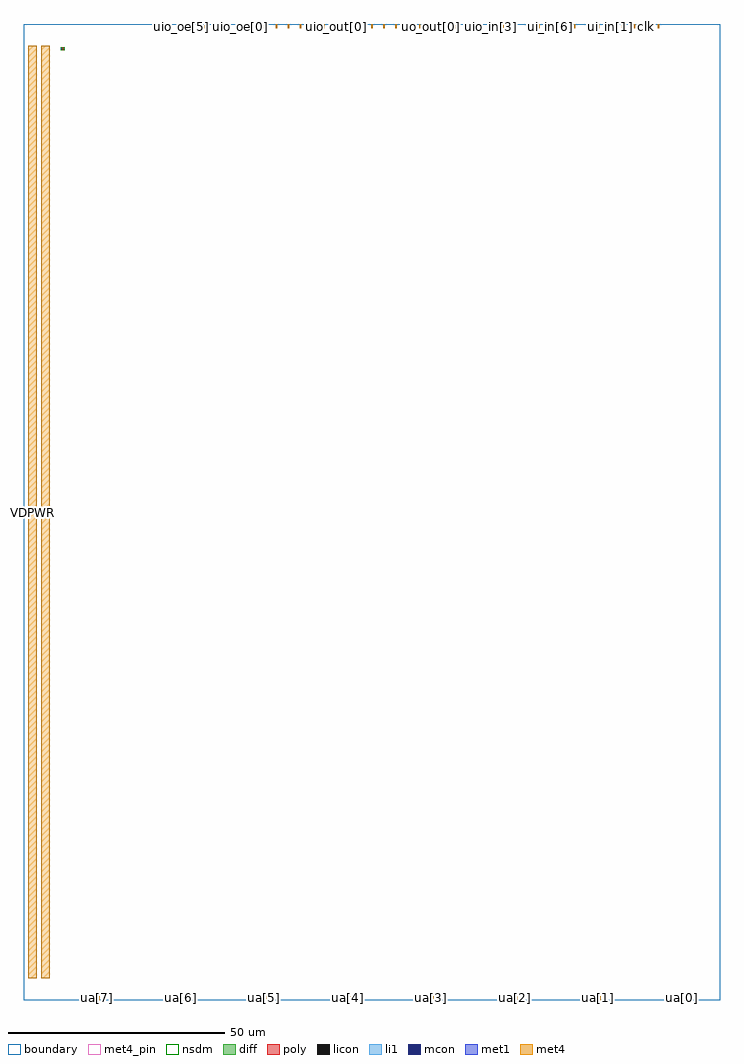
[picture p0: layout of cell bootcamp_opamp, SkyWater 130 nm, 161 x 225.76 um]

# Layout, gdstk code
import gdstk
lib = gdstk.Library(unit=1e-6, precision=1e-09)
def R(c, l, rs):  # rectangles x0, y0, x1, y1
    for r in rs: c.add(gdstk.rectangle(r[:2], r[2:], *l))
def A(c, l, x, y, w, h, nx, ny, dx, dy):  # array of equal rectangles
    R(c, l, [(x+i*dx, y+j*dy, x+i*dx+w, y+j*dy+h) for i in range(nx) for j in range(ny)])
diff = (65, 20)
poly = (66, 20)
licon = (66, 44)
li1 = (67, 20)
mcon = (67, 44)
met1 = (68, 20)
met4_pin = (71, 16)
met4 = (71, 20)
nsdm = (93, 44)
boundary = (235, 4)

bootcamp_opamp = lib.new_cell('bootcamp_opamp')
R(bootcamp_opamp, diff, [(8.625,219.75,9.375,220.25), (8.625,219.75,9.375,220.25), (8.625,219.75,9.375,220.25)])
R(bootcamp_opamp, poly, [(8.963,219.65,9.037,220.35)])
R(bootcamp_opamp, licon, [(8.508,219.958,8.592,220.043)])
R(bootcamp_opamp, li1, [(8.5,219.95,8.6,220.05)])
R(bootcamp_opamp, mcon, [(8.513,219.963,8.588,220.038)])
R(bootcamp_opamp, met1, [(8.45,219.9,8.65,220.1)])
A(bootcamp_opamp, met4_pin, 16.57, 0, 0.9, 1, 8, 1, 19.32, 0)
A(bootcamp_opamp, met4_pin, 30.67, 224.76, 0.3, 1, 43, 1, 2.76, 0)
R(bootcamp_opamp, met4_pin, [(1,5,3,220.76), (4,5,6,220.76)])
A(bootcamp_opamp, met4, 16.57, 0, 0.9, 1, 8, 1, 19.32, 0)
A(bootcamp_opamp, met4, 30.67, 224.76, 0.3, 1, 43, 1, 2.76, 0)
R(bootcamp_opamp, met4, [(1,5,3,220.76), (4,5,6,220.76)])
R(bootcamp_opamp, nsdm, [(8.55,219.675,9.45,220.325)])
R(bootcamp_opamp, boundary, [(0,0,161,225.76)])
bootcamp_opamp.add(gdstk.Label('clk', (143.98,225.26), layer=71, texttype=16))
bootcamp_opamp.add(gdstk.Label('ena', (146.74,225.26), layer=71, texttype=16))
bootcamp_opamp.add(gdstk.Label('rst_n', (141.22,225.26), layer=71, texttype=16))
bootcamp_opamp.add(gdstk.Label('ua[0]', (152.26,0.5), layer=71, texttype=16))
bootcamp_opamp.add(gdstk.Label('ua[1]', (132.94,0.5), layer=71, texttype=16))
bootcamp_opamp.add(gdstk.Label('ua[2]', (113.62,0.5), layer=71, texttype=16))
bootcamp_opamp.add(gdstk.Label('ua[3]', (94.3,0.5), layer=71, texttype=16))
bootcamp_opamp.add(gdstk.Label('ua[4]', (74.98,0.5), layer=71, texttype=16))
bootcamp_opamp.add(gdstk.Label('ua[5]', (55.66,0.5), layer=71, texttype=16))
bootcamp_opamp.add(gdstk.Label('ua[6]', (36.34,0.5), layer=71, texttype=16))
bootcamp_opamp.add(gdstk.Label('ua[7]', (17.02,0.5), layer=71, texttype=16))
bootcamp_opamp.add(gdstk.Label('ui_in[0]', (138.46,225.26), layer=71, texttype=16))
bootcamp_opamp.add(gdstk.Label('ui_in[1]', (135.7,225.26), layer=71, texttype=16))
bootcamp_opamp.add(gdstk.Label('ui_in[2]', (132.94,225.26), layer=71, texttype=16))
bootcamp_opamp.add(gdstk.Label('ui_in[3]', (130.18,225.26), layer=71, texttype=16))
bootcamp_opamp.add(gdstk.Label('ui_in[4]', (127.42,225.26), layer=71, texttype=16))
bootcamp_opamp.add(gdstk.Label('ui_in[5]', (124.66,225.26), layer=71, texttype=16))
bootcamp_opamp.add(gdstk.Label('ui_in[6]', (121.9,225.26), layer=71, texttype=16))
bootcamp_opamp.add(gdstk.Label('ui_in[7]', (119.14,225.26), layer=71, texttype=16))
bootcamp_opamp.add(gdstk.Label('uio_in[0]', (116.38,225.26), layer=71, texttype=16))
bootcamp_opamp.add(gdstk.Label('uio_in[1]', (113.62,225.26), layer=71, texttype=16))
bootcamp_opamp.add(gdstk.Label('uio_in[2]', (110.86,225.26), layer=71, texttype=16))
bootcamp_opamp.add(gdstk.Label('uio_in[3]', (108.1,225.26), layer=71, texttype=16))
bootcamp_opamp.add(gdstk.Label('uio_in[4]', (105.34,225.26), layer=71, texttype=16))
bootcamp_opamp.add(gdstk.Label('uio_in[5]', (102.58,225.26), layer=71, texttype=16))
bootcamp_opamp.add(gdstk.Label('uio_in[6]', (99.82,225.26), layer=71, texttype=16))
bootcamp_opamp.add(gdstk.Label('uio_in[7]', (97.06,225.26), layer=71, texttype=16))
bootcamp_opamp.add(gdstk.Label('uio_oe[0]', (50.14,225.26), layer=71, texttype=16))
bootcamp_opamp.add(gdstk.Label('uio_oe[1]', (47.38,225.26), layer=71, texttype=16))
bootcamp_opamp.add(gdstk.Label('uio_oe[2]', (44.62,225.26), layer=71, texttype=16))
bootcamp_opamp.add(gdstk.Label('uio_oe[3]', (41.86,225.26), layer=71, texttype=16))
bootcamp_opamp.add(gdstk.Label('uio_oe[4]', (39.1,225.26), layer=71, texttype=16))
bootcamp_opamp.add(gdstk.Label('uio_oe[5]', (36.34,225.26), layer=71, texttype=16))
bootcamp_opamp.add(gdstk.Label('uio_oe[6]', (33.58,225.26), layer=71, texttype=16))
bootcamp_opamp.add(gdstk.Label('uio_oe[7]', (30.82,225.26), layer=71, texttype=16))
bootcamp_opamp.add(gdstk.Label('uio_out[0]', (72.22,225.26), layer=71, texttype=16))
bootcamp_opamp.add(gdstk.Label('uio_out[1]', (69.46,225.26), layer=71, texttype=16))
bootcamp_opamp.add(gdstk.Label('uio_out[2]', (66.7,225.26), layer=71, texttype=16))
bootcamp_opamp.add(gdstk.Label('uio_out[3]', (63.94,225.26), layer=71, texttype=16))
bootcamp_opamp.add(gdstk.Label('uio_out[4]', (61.18,225.26), layer=71, texttype=16))
bootcamp_opamp.add(gdstk.Label('uio_out[5]', (58.42,225.26), layer=71, texttype=16))
bootcamp_opamp.add(gdstk.Label('uio_out[6]', (55.66,225.26), layer=71, texttype=16))
bootcamp_opamp.add(gdstk.Label('uio_out[7]', (52.9,225.26), layer=71, texttype=16))
bootcamp_opamp.add(gdstk.Label('uo_out[0]', (94.3,225.26), layer=71, texttype=16))
bootcamp_opamp.add(gdstk.Label('uo_out[1]', (91.54,225.26), layer=71, texttype=16))
bootcamp_opamp.add(gdstk.Label('uo_out[2]', (88.78,225.26), layer=71, texttype=16))
bootcamp_opamp.add(gdstk.Label('uo_out[3]', (86.02,225.26), layer=71, texttype=16))
bootcamp_opamp.add(gdstk.Label('uo_out[4]', (83.26,225.26), layer=71, texttype=16))
bootcamp_opamp.add(gdstk.Label('uo_out[5]', (80.5,225.26), layer=71, texttype=16))
bootcamp_opamp.add(gdstk.Label('uo_out[6]', (77.74,225.26), layer=71, texttype=16))
bootcamp_opamp.add(gdstk.Label('uo_out[7]', (74.98,225.26), layer=71, texttype=16))
bootcamp_opamp.add(gdstk.Label('VDPWR', (2,112.88), layer=71, texttype=16))
bootcamp_opamp.add(gdstk.Label('VGND', (5,112.88), layer=71, texttype=16))

lib.write_gds('bootcamp_opamp.gds')
